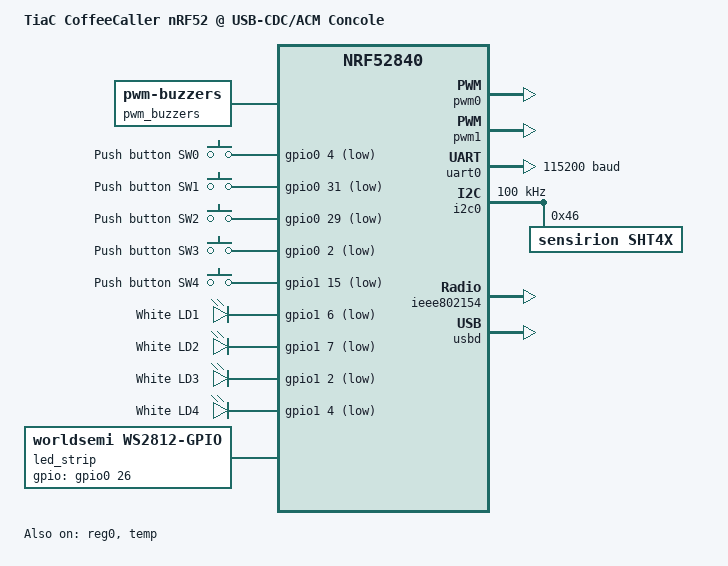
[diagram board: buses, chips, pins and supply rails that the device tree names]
/*
 * SPDX-FileCopyrightText: Copyright (c) 2025-2026 TiaC Systems
 * SPDX-License-Identifier: Apache-2.0
 */

/dts-v1/;

#include <nordic/nrf52840_qiaa.dtsi>
#include <nordic/nrf52840_partition_uf2_sdv7.dtsi>

#include <zephyr/dt-bindings/led/led.h>
#include <zephyr/dt-bindings/pwm/pwm.h>
#include <zephyr/dt-bindings/gpio/gpio.h>
#include <zephyr/dt-bindings/input/input-event-codes.h>

#include "nrf52840-pinctrl.dtsi"

#include "stemma_qt_connector.dtsi"
#include "seeed_grove_connectors.dtsi"
#include "coffeecaller_nrf52_connector.dtsi"

/ {
	model = "TiaC CoffeeCaller nRF52 @ USB-CDC/ACM Concole";
	compatible = "tiac,coffeecaller-nrf52",
		     "tiac,coffeecaller-nrf52-usbcons";

	chosen {
		zephyr,console = &cdc_acm_uart0;
		zephyr,shell-uart = &cdc_acm_uart0;
		zephyr,uart-mcumgr = &cdc_acm_uart0;
		zephyr,bt-mon-uart = &cdc_acm_uart0;
		zephyr,bt-c2h-uart = &cdc_acm_uart0;
		zephyr,ieee802154 = &ieee802154;
		zephyr,led-strip = &led_strip;
	};

	aliases {
		mcuboot-button0 = &sw0;
		sw0 = &sw0;
		sw1 = &sw1;
		sw2 = &sw2;
		sw3 = &sw3;
		sw4 = &sw4;
		led0 = &ld1;
		led1 = &ld2;
		led2 = &ld3;
		led3 = &ld4;
		led-strip = &led_strip;
		pwm-buzzer0 = &pwm_buzzer;
		pwm-servo0 = &pwm_servo1;
		pwm-servo1 = &pwm_servo2;
		pwm-servo2 = &pwm_servo3;
		pwm-servo3 = &pwm_servo4;
		watchdog0 = &wdt0;
	};

	pwm_buzzers: pwm-buzzers {
		compatible = "pwm-buzzers";
		status = "okay";

		pwm_buzzer: pwm-buzzer {
			pwms = <&pwm0 0 PWM_HZ(880) PWM_POLARITY_NORMAL>;
			label = "PWM Buzzer";
		};
	};

	pwm_servos: pwm-servos {
		compatible = "pwm-servos";

		pwm_servo1: pwm-servo1 {
			pwms = <&pwm1 3 PWM_MSEC(20) PWM_POLARITY_NORMAL>;
			label = "PWM Servo Motor 1";
		};
		pwm_servo2: pwm-servo2 {
			pwms = <&pwm1 2 PWM_MSEC(20) PWM_POLARITY_NORMAL>;
			label = "PWM Servo Motor 2";
		};
		pwm_servo3: pwm-servo3 {
			pwms = <&pwm1 1 PWM_MSEC(20) PWM_POLARITY_NORMAL>;
			label = "PWM Servo Motor 3";
		};
		pwm_servo4: pwm-servo4 {
			pwms = <&pwm1 0 PWM_MSEC(20) PWM_POLARITY_NORMAL>;
			label = "PWM Servo Motor 4";
		};
	};

	gpio_keys: gpio-keys {
		compatible = "gpio-keys";
		sw0: sw0 {
			gpios = <&gpio0 4 (GPIO_PULL_UP | GPIO_ACTIVE_LOW)>;
			label = "Push button SW0";
			zephyr,code = <INPUT_KEY_0>;
		};
		sw1: sw1 {
			gpios = <&gpio0 31 (GPIO_PULL_UP | GPIO_ACTIVE_LOW)>;
			label = "Push button SW1";
			zephyr,code = <INPUT_KEY_1>;
		};
		sw2: sw2 {
			gpios = <&gpio0 29 (GPIO_PULL_UP | GPIO_ACTIVE_LOW)>;
			label = "Push button SW2";
			zephyr,code = <INPUT_KEY_2>;
		};
		sw3: sw3 {
			gpios = <&gpio0 2 (GPIO_PULL_UP | GPIO_ACTIVE_LOW)>;
			label = "Push button SW3";
			zephyr,code = <INPUT_KEY_3>;
		};
		sw4: sw4 {
			gpios = <&gpio1 15 (GPIO_PULL_UP | GPIO_ACTIVE_LOW)>;
			label = "Push button SW4";
			zephyr,code = <INPUT_KEY_4>;
		};
	};

	gpio_leds: gpio-leds {
		compatible = "gpio-leds";
		ld1: ld1 {
			gpios = <&gpio1 6 GPIO_ACTIVE_LOW>;
			label = "White LD1";
		};
		ld2: ld2 {
			gpios = <&gpio1 7 GPIO_ACTIVE_LOW>;
			label = "White LD2";
		};
		ld3: ld3 {
			gpios = <&gpio1 2 GPIO_ACTIVE_LOW>;
			label = "White LD3";
		};
		ld4: ld4 {
			gpios = <&gpio1 4 GPIO_ACTIVE_LOW>;
			label = "White LD4";
		};
	};

	led_strip: ws2812 {
		compatible = "worldsemi,ws2812-gpio";
		chain-length = <4>;
		color-mapping = <LED_COLOR_ID_GREEN
				 LED_COLOR_ID_RED
				 LED_COLOR_ID_BLUE>;
		gpios = <&gpio0 26 0>;
		delay-t1h = <64>;
		delay-t1l = <64>;
		delay-t0h = <16>;
		delay-t0l = <64>;
	};
};

&reg0 {
	status = "okay";
};

&reg1 {
	regulator-initial-mode = <NRF5X_REG_MODE_LDO>;
};

&lfclk {
	k32src = "rc";
	k32src-accuracy-ppm = <500>;
};

&adc {
	status = "disabled";
};

&temp {
	status = "okay";
	friendly-name = "nRF52 chip temperature";
};

&gpiote {
	status = "okay";
};

&gpio0 {
	status = "okay";
	/* namespace and positions without wired bits */
	gpio-reserved-ranges = <3 1>, <5 1>, <7 1>,
			       <11 1>, <14 1>, <16 1>,
			       <18 2>, <21 1>, <23 1>,
			       <25 4>, <30 1>;
	gpio-line-names =
		"SV2_PWM1:2",		/* P0.00 */
		"SV1_PWM1:3",		/* P0.01 */
		"SW3",			/* P0.02 */
		"",			/* P0.03 */
		"SW0",			/* P0.04 */
		"",			/* P0.05 */
		"TX0_X1:1",		/* P0.06 */
		"",			/* P0.07 */
		"RX0_X1:3",		/* P0.08 */
		"NFC1",			/* P0.09 */
		"NFC2",			/* P0.10 */
		"",			/* P0.11 */
		"X1:7",			/* P0.12 */
		"X1:9",			/* P0.13 */
		"",			/* P0.14 */
		"X1:11",		/* P0.15 */
		"",			/* P0.16 */
		"X1:15",		/* P0.17 */
		"",			/* P0.18 */
		"",			/* P0.19 */
		"SDA0_X1:8",		/* P0.20 */
		"",			/* P0.21 */
		"X1:13",		/* P0.22 */
		"",			/* P0.23 */
		"SCL0_X1:10",		/* P0.24 */
		"",			/* P0.25 */
		"",  /* Din of LED stripe, P0.26 */
		"",			/* P0.27 */
		"",			/* P0.28 */
		"SW2",			/* P0.29 */
		"",			/* P0.30 */
		"SW1";			/* P0.31 */
};

&gpio1 {
	status = "okay";
	status = "okay";
	/* namespace and positions without wired bits */
	gpio-reserved-ranges = <1 1>, <3 1>, <5 1>,
			       <8 1>, <12 1>, <14 1>;
	gpio-line-names =
		"X1:6",			/* P1.00 */
		"",			/* P1.01 */
		"LD3",			/* P1.02 */
		"",			/* P1.03 */
		"LD4",			/* P1.04 */
		"",			/* P1.05 */
		"LD1",			/* P1.06 */
		"LD2",			/* P1.07 */
		"",			/* P1.08 */
		"X1:5",			/* P1.09 */
		"BUZ_PWM0:0",		/* P1.10 */
		"SV4_PWM1:0",		/* P1.11 */
		"",			/* P1.12 */
		"SV3_PWM1:1",		/* P1.13 */
		"",			/* P1.14 */
		"SW4";			/* P1.15 */
};

&pwm0 {
	status = "okay";
	pinctrl-0 = <&pwm0_default>;
	pinctrl-1 = <&pwm0_sleep>;
	pinctrl-names = "default", "sleep";
};

&pwm1 {
	status = "okay";
	pinctrl-0 = <&pwm1_default>;
	pinctrl-1 = <&pwm1_sleep>;
	pinctrl-names = "default", "sleep";
};

&uart0 {
	status = "okay";
	pinctrl-0 = <&uart0_default>;
	pinctrl-1 = <&uart0_sleep>;
	pinctrl-names = "default", "sleep";
	current-speed = <115200>;
};

&i2c0 {
	compatible = "nordic,nrf-twi";
	status = "okay";
	pinctrl-0 = <&i2c0_default>;
	pinctrl-1 = <&i2c0_sleep>;
	pinctrl-names = "default", "sleep";
	clock-frequency = <100000>;
	sht4x: sht4x@46 {
		compatible = "sensirion,sht4x";
		reg = <0x46>;
		repeatability = <2>;
		friendly-name = "on-board temperature and humidity";
	};
};

&ieee802154 {
	status = "okay";
};

zephyr_udc0: &usbd {
	compatible = "nordic,nrf-usbd";
	status = "okay";
	cdc_acm_uart0: cdc_acm_uart0 {
		compatible = "zephyr,cdc-acm-uart";
	};
};
